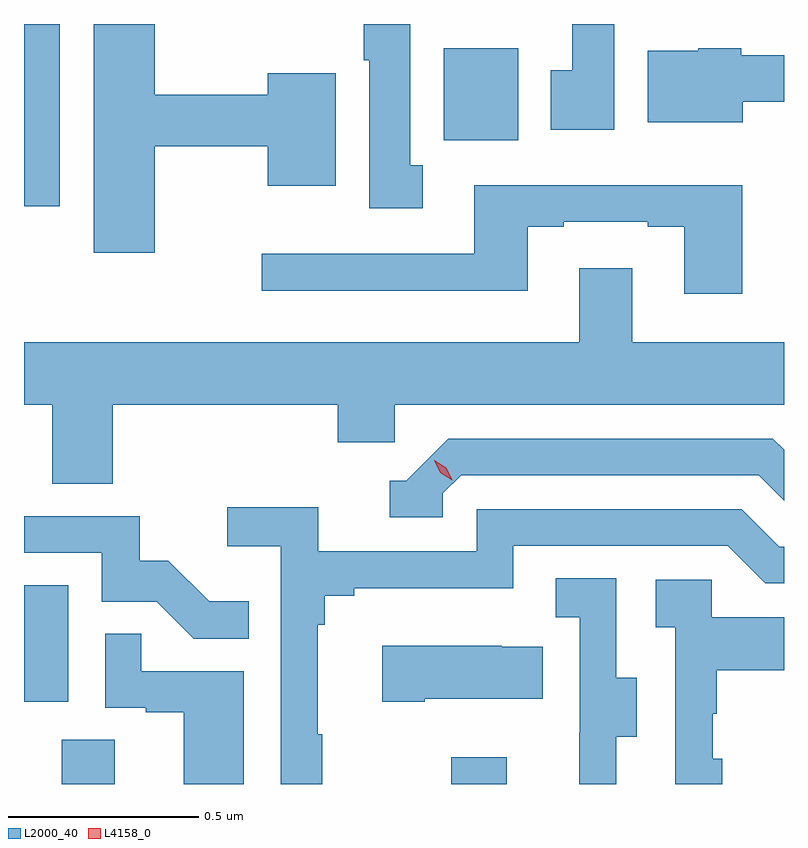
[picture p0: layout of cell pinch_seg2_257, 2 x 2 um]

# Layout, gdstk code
import gdstk
lib = gdstk.Library(unit=1e-6, precision=1e-09)
def R(c, l, rs):  # rectangles x0, y0, x1, y1
    for r in rs: c.add(gdstk.rectangle(r[:2], r[2:], *l))
def P(c, l, *ps):  # polygons
    for p in ps: c.add(gdstk.Polygon(p, *l))
L2000_40 = (2000, 40)
L4158_0 = (4158, 0)

pinch_seg2_257 = lib.new_cell('pinch_seg2_257')
R(pinch_seg2_257, L2000_40, [(945.575,659.958,945.715,660.074), (946.6,659.958,946.747,660.028), (945.476,660.174,945.592,660.481), (945.476,661.479,945.57,661.958), (946.58,661.652,946.777,661.894)])
P(pinch_seg2_257, L2000_40, [(946.525,661.586),(946.492,661.586),(946.492,661.958),(946.37,661.958),(946.37,661.862),(946.385,661.862),(946.385,661.473),(946.525,661.473)],
  [(945.82,661.636),(946.118,661.636),(946.118,661.532),(946.297,661.532),(946.297,661.828),(946.118,661.828),(946.118,661.772),(945.82,661.772),(945.82,661.958),(945.659,661.958),(945.659,661.356),(945.82,661.356)],
  [(947.029,661.958),(946.919,661.958),(946.919,661.836),(946.862,661.836),(946.862,661.68),(947.029,661.68)],
  [(947.368,661.754),(947.476,661.754),(947.476,661.876),(947.364,661.876),(947.364,661.894),(947.25,661.894),(947.25,661.888),(947.117,661.888),(947.117,661.7),(947.368,661.7)],
  [(947.366,661.534),(946.661,661.534),(946.661,661.353),(946.101,661.353),(946.101,661.256),(946.801,661.256),(946.801,661.425),(946.897,661.425),(946.897,661.437),(947.117,661.437),(947.117,661.425),(947.213,661.425),(947.213,661.248),(947.366,661.248)],
  [(945.71,660.956),(946.301,660.956),(946.301,660.858),(946.452,660.858),(946.452,660.956),(947.476,660.956),(947.476,661.12),(947.077,661.12),(947.077,661.315),(946.937,661.315),(946.937,661.12),(945.476,661.12),(945.476,660.956),(945.55,660.956),(945.55,660.748),(945.71,660.748)],
  [(946.578,660.723),(946.626,660.771),(947.409,660.771),(947.476,660.704),(947.476,660.837),(947.446,660.867),(946.593,660.867),(946.482,660.756),(946.439,660.756),(946.439,660.66),(946.578,660.66)],
  [(946.261,660.089),(946.249,660.089),(946.249,660.377),(946.268,660.377),(946.268,660.454),(946.345,660.454),(946.345,660.473),(946.764,660.473),(946.764,660.585),(947.328,660.585),(947.427,660.486),(947.476,660.486),(947.476,660.582),(947.464,660.582),(947.365,660.681),(946.668,660.681),(946.668,660.57),(946.25,660.57),(946.25,660.686),(946.011,660.686),(946.011,660.584),(946.152,660.584),(946.152,659.958),(946.261,659.958)],
  [(946.067,660.439),(945.963,660.439),(945.856,660.546),(945.78,660.546),(945.78,660.663),(945.476,660.663),(945.476,660.567),(945.681,660.567),(945.681,660.438),(945.825,660.438),(945.923,660.34),(946.067,660.34)],
  [(947.035,660.082),(947.089,660.082),(947.089,660.237),(947.034,660.237),(947.034,660.5),(946.875,660.5),(946.875,660.397),(946.938,660.397),(946.938,660.093),(946.937,660.093),(946.937,659.958),(947.035,659.958)],
  [(947.314,660.024),(947.289,660.024),(947.289,660.143),(947.299,660.143),(947.299,660.257),(947.476,660.257),(947.476,660.397),(947.286,660.397),(947.286,660.495),(947.139,660.495),(947.139,660.371),(947.19,660.371),(947.19,659.958),(947.314,659.958)],
  [(946.054,660.255),(945.785,660.255),(945.785,660.353),(945.69,660.353),(945.69,660.159),(945.797,660.159),(945.797,660.147),(945.896,660.147),(945.896,659.958),(946.054,659.958)],
  [(946.531,660.182),(946.841,660.182),(946.841,660.319),(946.733,660.319),(946.733,660.322),(946.419,660.322),(946.419,660.175),(946.531,660.175)])
P(pinch_seg2_257, L4158_0, [(946.603,660.757),(946.572,660.777),(946.556,660.81),(946.556,660.81),(946.556,660.81),(946.587,660.79),(946.603,660.758),(946.603,660.757)])

lib.write_gds('pinch_seg2_257.gds')
